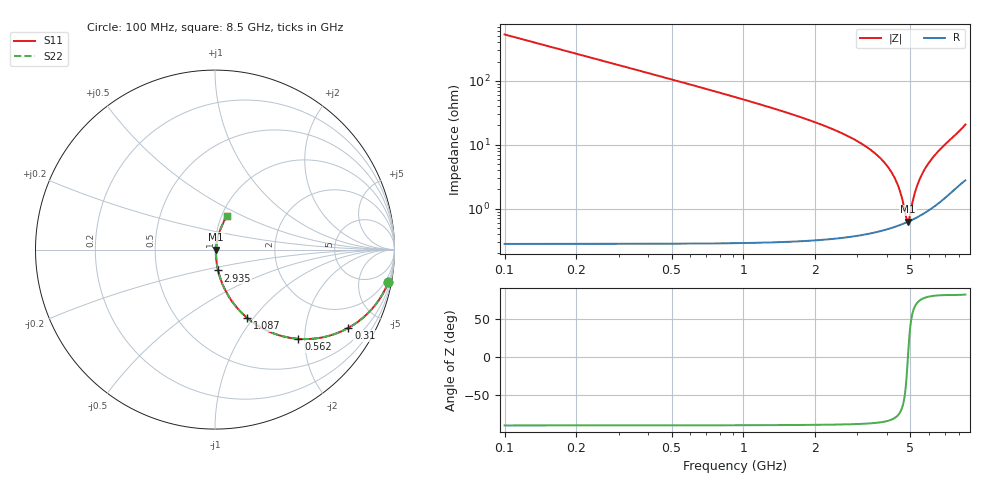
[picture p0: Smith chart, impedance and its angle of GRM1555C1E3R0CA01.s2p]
!Murata Part Number: GRM1555C1E3R0CA01
!These Parameters are Measured in Series Mode Connection
!Data Generated on Mar 30, 2021
!  o--ll--o
!Port1  Port2
!  o------o
!Operation Temp=25[degC], DC Bias Voltage=0[V]
!Freq. Start=100[MHz] Stop=9[GHz] 401[Steps]
# Hz S RI R 50
!Freq.(Hz) S11(Real) S11(Imag) S21(Real) S21(Imag) S12(Real) S12(Imag) S22(Real) S22(Imag)
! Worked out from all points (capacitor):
!   401 points, 100 MHz to 8.5 GHz, reference 50 ohm
!   read as one part in series: C = 3 pF near 142 MHz
!   lowest |Z| = 623 mohm at 4.888 GHz (marker M1)
!   series resonance near 4.884 GHz, so ESL is about 350 pH
!   S11 on the Smith chart (normalised r, x): 100 MHz: 1, -11; 310 MHz: 1.01, -3.41; 562 MHz: 1.01, -1.86; 1.087 GHz: 1.01, -0.93; 2.935 GHz: 1.01, -0.24; 8.5 GHz: 1.06, +0.41
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1e8  0.9656 -0.1821  0.0344 0.1821  0.0344 0.1821  0.9656 -0.1821
2.05e8  0.8694 -0.3364  0.1306 0.3364  0.1306 0.3364  0.8694 -0.3364
3.1e8  0.7437 -0.4358  0.2563 0.4358  0.2563 0.4358  0.7437 -0.4358
4.15e8  0.617 -0.485  0.383 0.485  0.383 0.485  0.617 -0.485
5.62e8  0.4652 -0.4973  0.5348 0.4973  0.5348 0.4973  0.4652 -0.4973
7.93e8  0.2995 -0.4559  0.7005 0.4559  0.7005 0.4559  0.2995 -0.4559
1.087e9  0.1797 -0.3808  0.8203 0.3808  0.8203 0.3808  0.1797 -0.3808
1.507e9  0.0955 -0.2893  0.9045 0.2893  0.9045 0.2893  0.0955 -0.2893
2.914e9  0.0179 -0.118  0.9821 0.118  0.9821 0.118  0.0179 -0.118
2.935e9  0.0175 -0.1163  0.9825 0.1163  0.9825 0.1163  0.0175 -0.1163
3.754e9  0.00805 -0.06  0.9919 0.06  0.9919 0.06  0.00805 -0.06
4.3e9  0.006 -0.0293  0.994 0.0293  0.994 0.0293  0.006 -0.0293
4.531e9  0.00581 -0.0174  0.9942 0.0174  0.9942 0.0174  0.00581 -0.0174
4.804e9  0.00603 -0.00384  0.994 0.00384  0.994 0.00384  0.00603 -0.00384
4.888e9  0.00618 0.000215  0.9938 -0.000215  0.9938 -0.000215  0.00618 0.000215
4.951e9  0.00633 0.00323  0.9937 -0.00323  0.9937 -0.00323  0.00633 0.00323
5.14e9  0.0069 0.0121  0.9931 -0.0121  0.9931 -0.0121  0.0069 0.0121
5.287e9  0.00748 0.019  0.9925 -0.019  0.9925 -0.019  0.00748 0.019
5.707e9  0.00981 0.0381  0.9902 -0.0381  0.9902 -0.0381  0.00981 0.0381
6.295e9  0.0149 0.0644  0.9851 -0.0644  0.9851 -0.0644  0.0149 0.0644
7.114e9  0.026 0.1021  0.974 -0.1021  0.974 -0.1021  0.026 0.1021
8.5e9  0.0642 0.1868  0.9358 -0.1868  0.9358 -0.1868  0.0642 0.1868
